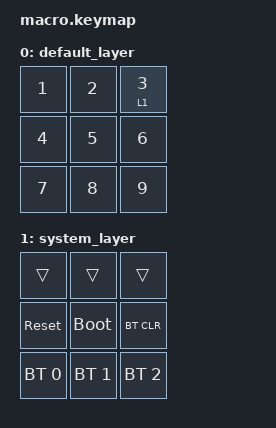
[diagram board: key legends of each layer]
#include <behaviors.dtsi>
#include <dt-bindings/zmk/keys.h>
#include <dt-bindings/zmk/bt.h>

/ {
    keymap {
        compatible = "zmk,keymap";

        default_layer {
            bindings = <
                &kp N1   &kp N2   &lt 1 N3
                &kp N4   &kp N5   &kp N6
                &kp N7   &kp N8   &kp N9
            >;
        };

        system_layer {
            bindings = <
                &trans       &trans       &trans
                &sys_reset   &bootloader  &bt BT_CLR
                &bt BT_SEL 0 &bt BT_SEL 1 &bt BT_SEL 2
            >;
        };
    };
};
